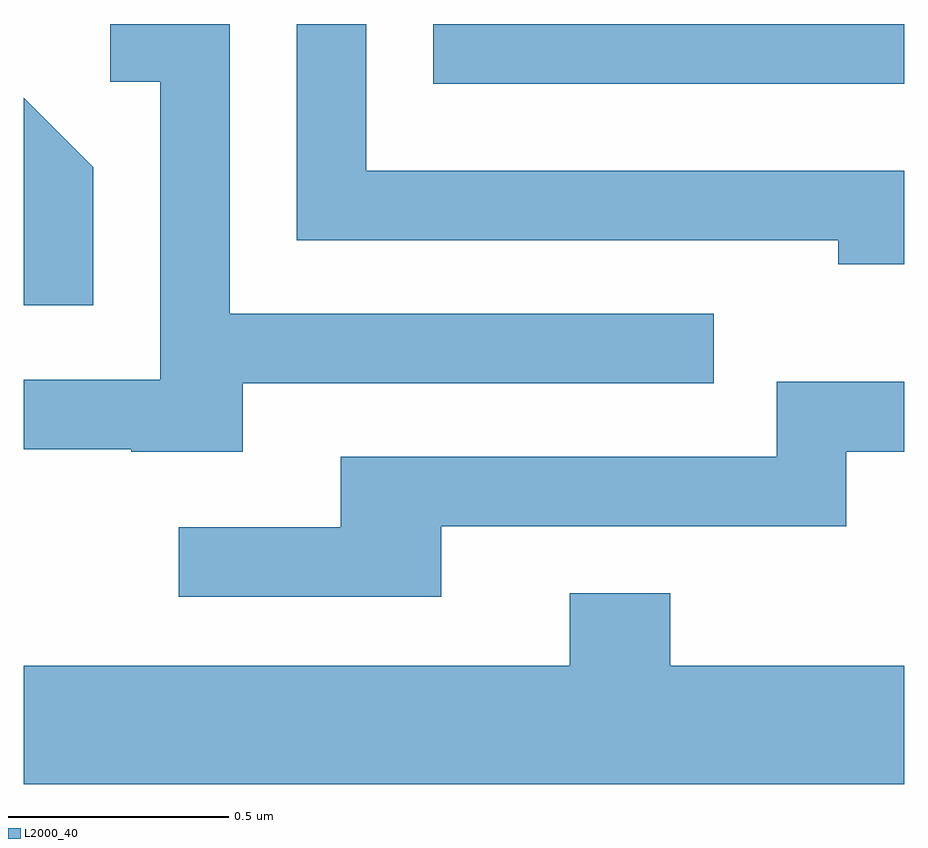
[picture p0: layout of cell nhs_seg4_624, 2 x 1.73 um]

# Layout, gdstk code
import gdstk
lib = gdstk.Library(unit=1e-6, precision=1e-09)
def R(c, l, rs):  # rectangles x0, y0, x1, y1
    for r in rs: c.add(gdstk.rectangle(r[:2], r[2:], *l))
def P(c, l, *ps):  # polygons
    for p in ps: c.add(gdstk.Polygon(p, *l))
L2000_40 = (2000, 40)

nhs_seg4_624 = lib.new_cell('nhs_seg4_624')
R(nhs_seg4_624, L2000_40, [(190.541,1331.846,191.611,1331.982)])
P(nhs_seg4_624, L2000_40, [(191.611,1331.649),(190.389,1331.649),(190.389,1331.982),(190.231,1331.982),(190.231,1331.491),(191.461,1331.491),(191.461,1331.436),(191.611,1331.436)],
  [(190.109,1331.166),(191.178,1331.166),(191.178,1331.324),(190.079,1331.324),(190.079,1331.982),(189.808,1331.982),(189.808,1331.851),(189.921,1331.851),(189.921,1331.174),(189.611,1331.174),(189.611,1331.016),(189.855,1331.016),(189.855,1331.011),(190.109,1331.011)],
  [(189.769,1331.657),(189.611,1331.815),(189.611,1331.343),(189.769,1331.343)],
  [(190.559,1330.841),(191.479,1330.841),(191.479,1331.011),(191.611,1331.011),(191.611,1331.169),(191.321,1331.169),(191.321,1330.999),(190.331,1330.999),(190.331,1330.839),(189.963,1330.839),(189.963,1330.681),(190.559,1330.681)],
  [(191.611,1330.524),(191.079,1330.524),(191.079,1330.689),(190.851,1330.689),(190.851,1330.524),(189.611,1330.524),(189.611,1330.256),(191.611,1330.256)])

lib.write_gds('nhs_seg4_624.gds')
